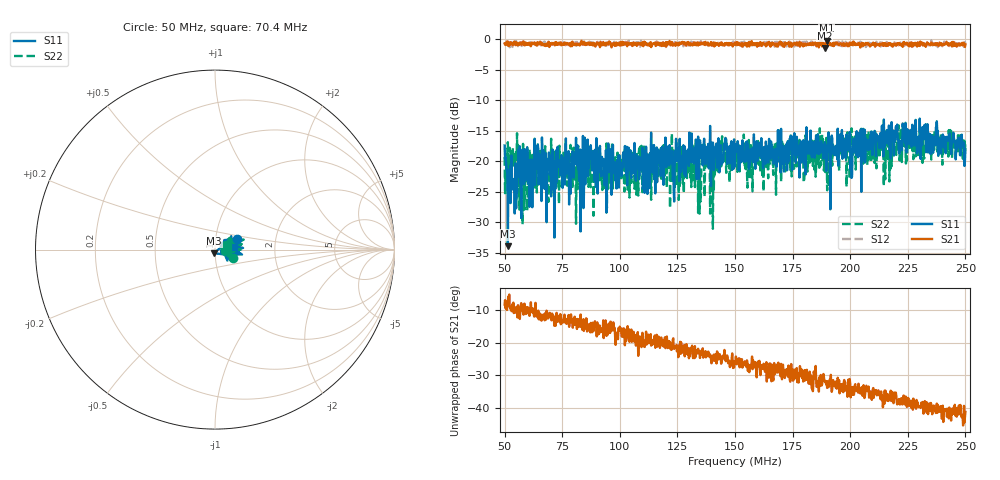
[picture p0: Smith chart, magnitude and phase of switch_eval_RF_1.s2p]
!Keysight Technologies N9923A: A.08.18
!Date: Thursday, 04 February 2021 21:40:45
!Timezone: (GMT-04:00) Georgetown, La Paz, Manaus, San Juan
!Model: N9923A
!Serial: MY52411941
!GPS Latitude:
!GPS Longitude:
!GPS TimeStamp: 0001-01-01 00:00:00Z
!GPS Seconds Since Last Read: 0
!CHECKSUM:0015601870
!Correction: S11(ON U)S21(ON U)S12(ON U)S22(ON U)
!S2P File: Measurements:S11,S21,S12,S22:
# Hz S DB R 50
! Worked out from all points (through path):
!   1001 points, 50 MHz to 250 MHz, reference 50 ohm
!   highest |S21| = -0.30 dB at 189.8 MHz (marker M1); lowest = -1.5 dB at 189 MHz (marker M2)
!   group delay of S21, straight-line fit = 468 ps
!   lowest |S11| = -33.9 dB at 51.4 MHz (marker M3), VSWR 1.04, Z = 49.5 - j1.94 ohm
!   |S11| at or under -10 dB: start of sweep to end of sweep
!   |S22| runs from -31.0 to -14.1 dB; largest |S21 - S12| = 0.11
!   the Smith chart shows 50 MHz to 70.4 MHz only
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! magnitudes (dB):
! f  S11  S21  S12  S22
! 50 MHz  -17.4  -0.7  -0.9  -19.3
! 51.4 MHz  -33.9  -0.4  -0.8  -16.9
! 61.8 MHz  -20.8  -0.6  -0.7  -18.7
! 63.6 MHz  -20.8  -0.7  -0.7  -19.2
! 71.2 MHz  -22.8  -0.7  -0.9  -18.3
! 81.8 MHz  -20.9  -0.8  -0.5  -20.6
! 83.4 MHz  -18.5  -0.3  -0.7  -23.0
! 86.8 MHz  -18.9  -0.8  -0.5  -20.7
! 94.4 MHz  -19.5  -0.6  -0.7  -27.6
! 116.8 MHz  -20.2  -0.6  -0.9  -22.5
! 130.6 MHz  -18.0  -0.9  -0.9  -22.7
! 134.6 MHz  -17.0  -0.9  -0.6  -28.6
! 138 MHz  -18.1  -0.9  -0.7  -19.5
! 140.2 MHz  -19.3  -0.8  -0.9  -25.1
! 144.2 MHz  -19.0  -0.7  -0.6  -18.6
! 150 MHz  -19.1  -0.6  -0.8  -19.1
! 183.4 MHz  -19.3  -0.9  -0.5  -16.6
! 189 MHz  -16.9  -1.5  -1.0  -17.2
! 189.8 MHz  -18.9  -0.3  -0.5  -18.1
! 199.6 MHz  -16.6  -0.8  -0.9  -17.8
! 216.8 MHz  -14.2  -0.7  -1.0  -18.4
! 250 MHz  -18.0  -0.9  -1.0  -16.8
